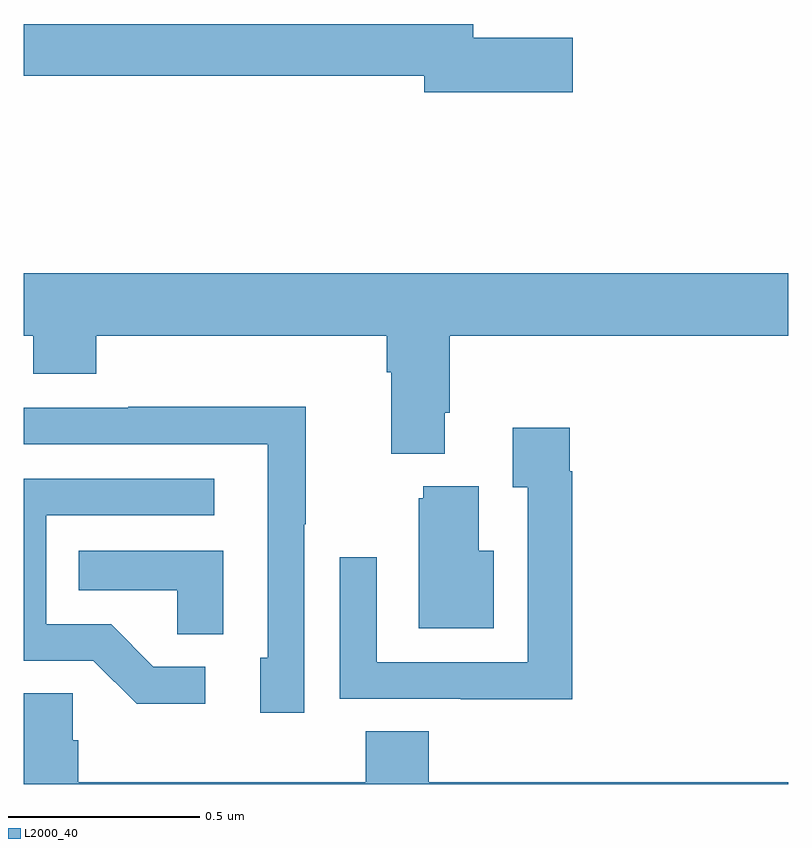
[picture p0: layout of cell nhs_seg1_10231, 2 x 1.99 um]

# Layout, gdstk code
import gdstk
lib = gdstk.Library(unit=1e-6, precision=1e-09)
def P(c, l, *ps):  # polygons
    for p in ps: c.add(gdstk.Polygon(p, *l))
L2000_40 = (2000, 40)

nhs_seg1_10231 = lib.new_cell('nhs_seg1_10231')
P(nhs_seg1_10231, L2000_40, [(239.437,579.152),(239.176,579.152),(239.176,579.188),(238,579.188),(238,579.052),(239.048,579.052),(239.048,579.01),(239.437,579.01)],
  [(238,578.372),(238.025,578.372),(238.025,578.273),(238.19,578.273),(238.19,578.372),(238.949,578.372),(238.949,578.276),(238.961,578.276),(238.961,578.063),(239.101,578.063),(239.101,578.17),(239.114,578.17),(239.114,578.372),(240,578.372),(240,578.536),(238,578.536)],
  [(238.734,577.879),(238.737,577.879),(238.737,578.186),(238.273,578.186),(238.273,578.184),(238,578.184),(238,578.088),(238.638,578.088),(238.638,577.53),(238.619,577.53),(238.619,577.386),(238.734,577.386)],
  [(239.435,578.018),(239.428,578.018),(239.428,578.131),(239.279,578.131),(239.279,577.975),(239.319,577.975),(239.319,577.518),(238.923,577.518),(238.923,577.792),(238.827,577.792),(238.827,577.422),(239.143,577.422),(239.143,577.421),(239.435,577.421)],
  [(238.474,577.506),(238.339,577.506),(238.228,577.617),(238.059,577.617),(238.059,577.902),(238.498,577.902),(238.498,577.998),(238,577.998),(238,577.521),(238.182,577.521),(238.295,577.409),(238.474,577.409)],
  [(239.23,577.81),(239.191,577.81),(239.191,577.978),(239.045,577.978),(239.045,577.947),(239.033,577.947),(239.033,577.607),(239.23,577.607)],
  [(238.522,577.81),(238.144,577.81),(238.144,577.706),(238.401,577.706),(238.401,577.591),(238.522,577.591)],
  [(240,577.204),(239.06,577.204),(239.06,577.337),(238.895,577.337),(238.895,577.204),(238.142,577.204),(238.142,577.313),(238.128,577.313),(238.128,577.436),(238,577.436),(238,577.199),(240,577.199)])

lib.write_gds('nhs_seg1_10231.gds')
